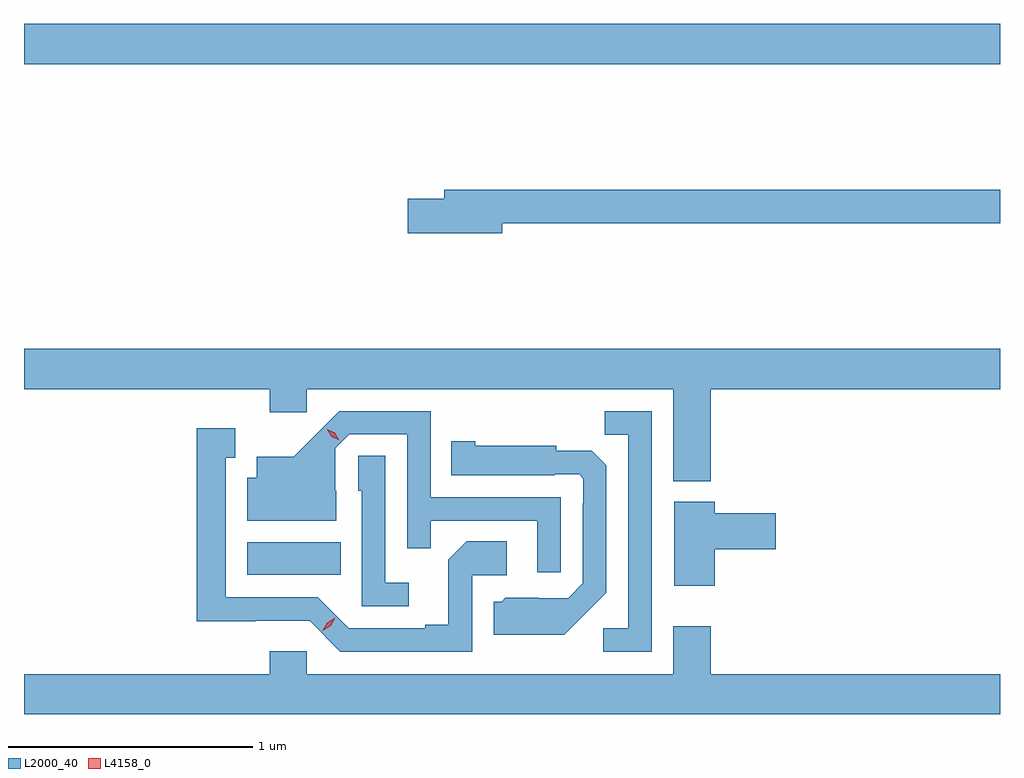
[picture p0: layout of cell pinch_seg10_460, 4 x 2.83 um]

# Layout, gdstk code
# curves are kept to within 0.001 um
import gdstk
lib = gdstk.Library(unit=1e-6, precision=1e-09)
def R(c, l, rs):  # rectangles x0, y0, x1, y1
    for r in rs: c.add(gdstk.rectangle(r[:2], r[2:], *l))
def P(c, l, *ps):  # polygons
    for p in ps: c.add(gdstk.Polygon(p, *l))
L2000_40 = (2000, 40)
L4158_0 = (4158, 0)

pinch_seg10_460 = lib.new_cell('pinch_seg10_460')
R(pinch_seg10_460, L2000_40, [(280.562,1302.218,280.946,1302.352), (279.647,1304.312,283.647,1304.476)])
P(pinch_seg10_460, L2000_40, [(281.608,1303.66),(283.647,1303.66),(283.647,1303.796),(281.369,1303.796),(281.369,1303.76),(281.22,1303.76),(281.22,1303.618),(281.608,1303.618)],
  [(282.461,1302.98),(283.647,1302.98),(283.647,1303.144),(279.647,1303.144),(279.647,1302.98),(280.655,1302.98),(280.655,1302.885),(280.806,1302.885),(280.806,1302.98),(282.308,1302.98),(282.308,1302.602),(282.461,1302.602)],
  [(281.847,1302.537),(281.313,1302.537),(281.313,1302.888),(280.94,1302.888),(280.753,1302.703),(280.601,1302.703),(280.601,1302.616),(280.562,1302.616),(280.562,1302.44),(280.927,1302.44),(280.927,1302.564),(280.923,1302.564),(280.923,1302.738),(280.98,1302.795),(281.217,1302.795),(281.217,1302.328),(281.315,1302.328),(281.315,1302.441),(281.751,1302.441),(281.751,1302.228),(281.847,1302.228)],
  [(282.219,1302.888),(282.028,1302.888),(282.028,1302.793),(282.123,1302.793),(282.123,1302),(282.021,1302),(282.021,1301.904),(282.219,1301.904)],
  [(281.484,1302.216),(281.626,1302.216),(281.626,1302.356),(281.461,1302.356),(281.385,1302.28),(281.385,1302.013),(281.291,1302.013),(281.291,1302),(280.977,1302),(280.851,1302.126),(280.474,1302.126),(280.474,1302.699),(280.513,1302.699),(280.513,1302.82),(280.356,1302.82),(280.356,1302.029),(280.818,1302.03),(280.944,1301.904),(281.484,1301.904)],
  [(281.941,1302.053),(282.033,1302.146),(282.033,1302.668),(281.974,1302.727),(281.829,1302.727),(281.829,1302.748),(281.496,1302.748),(281.496,1302.766),(281.398,1302.766),(281.398,1302.626),(281.822,1302.626),(281.822,1302.63),(281.922,1302.63),(281.94,1302.612),(281.94,1302.512),(281.937,1302.512),(281.937,1302.183),(281.877,1302.123),(281.62,1302.124),(281.604,1302.108),(281.573,1302.108),(281.573,1301.972),(281.861,1301.972)],
  [(281.224,1302.187),(281.127,1302.187),(281.127,1302.707),(281.016,1302.707),(281.016,1302.564),(281.031,1302.564),(281.031,1302.09),(281.224,1302.09)],
  [(282.478,1302.323),(282.727,1302.323),(282.727,1302.47),(282.478,1302.47),(282.478,1302.517),(282.311,1302.517),(282.311,1302.174),(282.478,1302.174)],
  [(283.647,1301.812),(282.461,1301.812),(282.461,1302.007),(282.308,1302.007),(282.308,1301.812),(280.806,1301.812),(280.806,1301.905),(280.655,1301.905),(280.655,1301.812),(279.647,1301.812),(279.647,1301.648),(283.647,1301.648)])
P(pinch_seg10_460, L4158_0, [(280.938,1302.77),(280.908,1302.785),(280.89,1302.814),(280.89,1302.815),(280.89,1302.815),(280.921,1302.8),(280.939,1302.77),(280.939,1302.77)],
  [(280.872,1301.99),(280.872,1301.991),(280.89,1302.023),(280.922,1302.042),(280.922,1302.042),(280.922,1302.042),(280.904,1302.009),(280.872,1301.99)])

lib.write_gds('pinch_seg10_460.gds')
